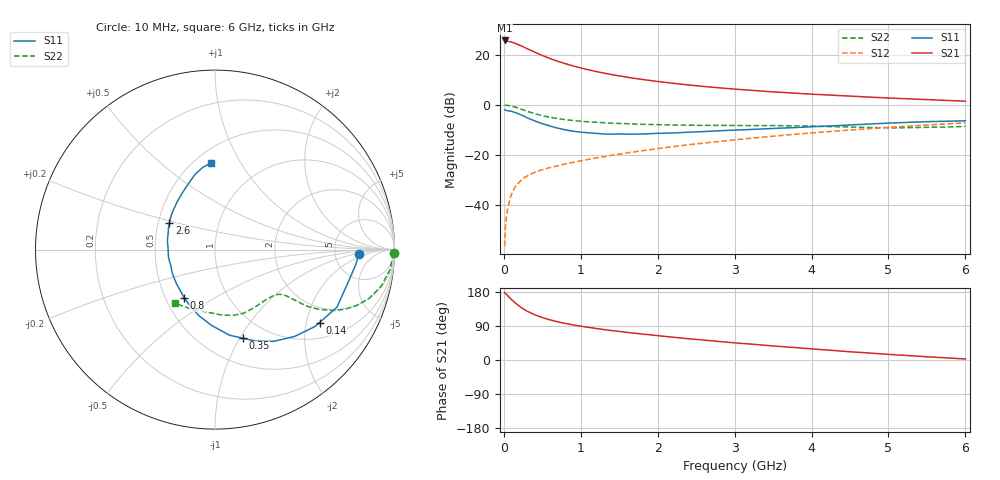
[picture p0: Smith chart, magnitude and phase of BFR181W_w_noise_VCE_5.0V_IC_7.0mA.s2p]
! Infineon Technologies  Discrete & RF Semiconductors
! BFR181W
! VCE =  5.0 V,  IC =  7.0 mA
! Common Emitter S-Parameters:  Jan 2017
# GHz  S  MA  R  50
!  f  S11  S21  S12  S22
! GHz  MAG  ANG  MAG  ANG  MAG  ANG  MAG  ANG
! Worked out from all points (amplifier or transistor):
!   77 points, 10 MHz to 6 GHz, reference 50 ohm
!   highest |S21| = 25.8 dB at 10 MHz (marker M1)
!   |S21| within 3 dB of that: start of sweep to 282.6 MHz
!   unconditionally stable (mu >= 1): 1.186 GHz to 3.183 GHz
!   at 130 MHz: K = 0.22, MSG = 29.3 dB, |S12| = -33.7 dB
!   at 2.2 GHz: K = 1.07, MAG = 11.1 dB, |S12| = -16.6 dB
!   at 6 GHz: K = 0.85, MSG = 4.3 dB, |S12| = -7.1 dB
!   lowest NFmin = 1.08 dB at 450 MHz
!   S11 on the Smith chart (normalised r, x): 10 MHz: 8.99, -1.21; 140 MHz: 1.46, -2.40; 350 MHz: 0.76, -1.03; 800 MHz: 0.62, -0.37; 2.6 GHz: 0.57, +0.19; 6 GHz: 0.60, +0.76
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0.01  0.8031 -1.7  19.53 178.4  0.0015 96.2  0.9964 -1.2
0.02  0.7874 -6.4  19.26 175.5  0.0036 98.8  0.9887 -2.4
0.05  0.7668 -12.6  18.94 169.6  0.0084 82.2  0.9832 -6.3
0.1  0.7514 -25.3  18.11 159.5  0.0165 76.5  0.9486 -12.3
0.14  0.7104 -34.9  17.25 152.4  0.022 73.3  0.9112 -16.3
0.2  0.6568 -47.4  15.82 142.1  0.0284 69.8  0.8507 -21.4
0.25  0.6072 -57.3  14.63 135.1  0.0341 64.8  0.7989 -24.5
0.3  0.5586 -66.0  13.41 129.0  0.0378 62.5  0.75 -26.9
0.35  0.5168 -72.7  12.37 124.5  0.0414 61.1  0.7101 -28.3
0.4  0.4832 -80.5  11.42 119.3  0.045 59.9  0.6706 -29.8
0.5  0.4221 -92.8  9.769 111.9  0.0508 58.5  0.6105 -31.4
0.6  0.3796 -103.5  8.507 105.9  0.056 58.4  0.5667 -32.0
0.7  0.3435 -113.6  7.49 100.8  0.0606 59.3  0.5333 -32.3
0.8  0.3187 -122.7  6.703 96.4  0.0666 59.8  0.5087 -32.5
1.1  0.277 -145.6  5.058 86.2  0.0817 61.4  0.461 -33.3
1.5  0.2632 -169.7  3.816 75.4  0.1041 63.3  0.4271 -35.9
2.1  0.2728 164.7  2.831 62.2  0.1404 64.2  0.4011 -43.3
2.6  0.2937 149.7  2.346 52.5  0.173 63.2  0.3916 -51.4
3.1  0.3188 137.0  2.027 43.7  0.208 61.4  0.3882 -59.8
4.1  0.3722 117.7  1.618 27.9  0.2836 55.8  0.3753 -77.4
5.1  0.4402 103.3  1.359 13.6  0.3645 47.9  0.3502 -102.3
6  0.4832 92.5  1.191 2.7  0.4392 39.6  0.3729 -126.9
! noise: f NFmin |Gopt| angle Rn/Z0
0.45  1.08  0.24  17  0.22
0.9  1.13  0.22  31  0.21
1.9  1.55  0.09  86  0.19
2.4  1.7  0.08  96  0.23
